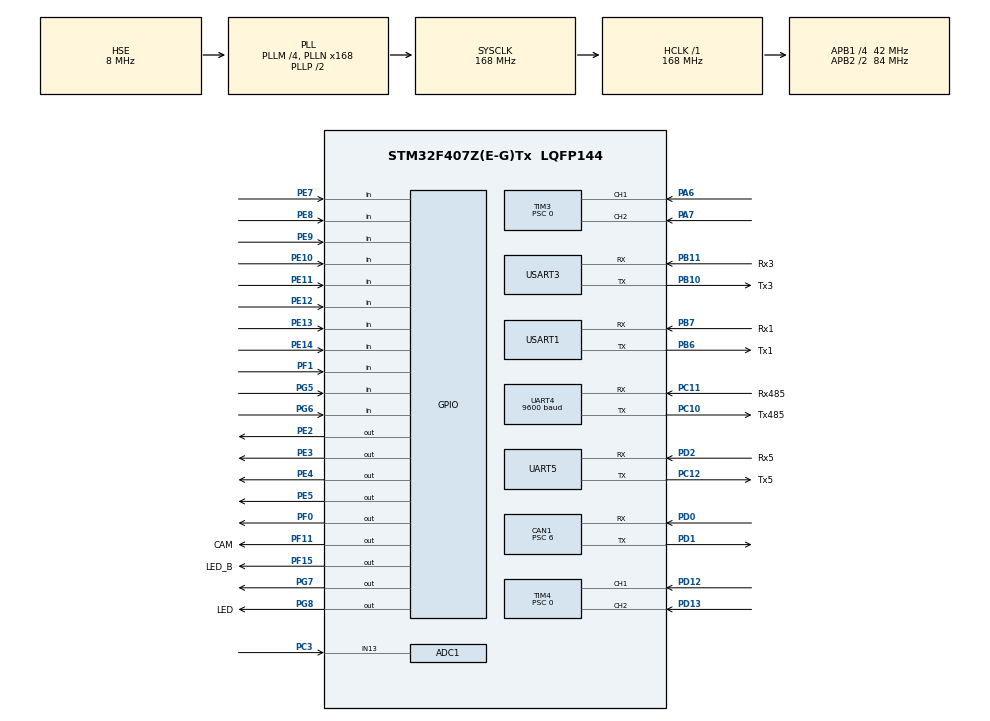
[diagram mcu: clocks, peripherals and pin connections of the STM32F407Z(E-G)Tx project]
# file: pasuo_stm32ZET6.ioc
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ADC1.Channel-0\#ChannelRegularConversion=ADC_CHANNEL_13
ADC1.NbrOfConversionFlag=1
ADC1.Rank-0\#ChannelRegularConversion=1
ADC1.SamplingTime-0\#ChannelRegularConversion=ADC_SAMPLETIME_3CYCLES
ADC1.master=1
CAN1.ABOM=ENABLE
CAN1.AWUM=ENABLE
CAN1.BS1=CAN_BS1_6TQ
CAN1.BS2=CAN_BS2_7TQ
CAN1.CalculateTimeQuantum=142.85714285714286
CAN1.Prescaler=6
FREERTOS.Tasks01=defaultTask,0,128,StartDefaultTask,Default,NULL,Dynamic,NULL,NULL
FREERTOS.configLIBRARY_MAX_SYSCALL_INTERRUPT_PRIORITY=5
FREERTOS.configMAX_PRIORITIES=10
FREERTOS.configTOTAL_HEAP_SIZE=81920
IWDG.Prescaler=IWDG_PRESCALER_32
IWDG.Reload=1024
Mcu.Family=STM32F4
Mcu.Name=STM32F407Z(E-G)Tx
Mcu.Package=LQFP144
NVIC.CAN1_RX0_IRQn=true\:7\:0\:true\:false\:true\:true\:true\:true
NVIC.CAN1_RX1_IRQn=true\:7\:0\:true\:false\:true\:true\:true\:true
NVIC.CAN1_TX_IRQn=true\:7\:0\:true\:false\:true\:true\:true\:true
NVIC.PriorityGroup=NVIC_PRIORITYGROUP_4
NVIC.TIM2_IRQn=true\:0\:0\:false\:false\:true\:false\:false\:true
NVIC.TIM3_IRQn=true\:8\:0\:true\:false\:true\:true\:true\:true
NVIC.TIM4_IRQn=true\:8\:0\:true\:false\:true\:true\:true\:true
NVIC.TimeBase=TIM2_IRQn
NVIC.TimeBaseIP=TIM2
NVIC.UART4_IRQn=true\:6\:0\:true\:false\:true\:true\:true\:true
NVIC.UART5_IRQn=true\:6\:0\:true\:false\:true\:true\:true\:true
NVIC.USART1_IRQn=true\:6\:0\:true\:false\:true\:true\:true\:true
NVIC.USART3_IRQn=true\:5\:0\:true\:false\:true\:true\:true\:true
PA13.Mode=Serial_Wire
PA13.Signal=SYS_JTMS-SWDIO
PA14.Mode=Serial_Wire
PA14.Signal=SYS_JTCK-SWCLK
PA6.GPIO_PuPd=GPIO_PULLDOWN
PA6.GPIO_Speed=GPIO_SPEED_FREQ_VERY_HIGH
PA6.Signal=S_TIM3_CH1
PA7.GPIO_PuPd=GPIO_PULLDOWN
PA7.GPIO_Speed=GPIO_SPEED_FREQ_VERY_HIGH
PA7.Signal=S_TIM3_CH2
PB10.GPIO_Label=Tx3
PB10.GPIO_PuPd=GPIO_PULLDOWN
PB10.Mode=Asynchronous
PB10.Signal=USART3_TX
PB11.GPIO_Label=Rx3
PB11.GPIO_PuPd=GPIO_PULLDOWN
PB11.Mode=Asynchronous
PB11.Signal=USART3_RX
PB6.GPIO_Label=Tx1
PB6.GPIO_PuPd=GPIO_PULLDOWN
PB6.Mode=Asynchronous
PB6.Signal=USART1_TX
PB7.GPIO_Label=Rx1
PB7.GPIO_PuPd=GPIO_PULLDOWN
PB7.Mode=Asynchronous
PB7.Signal=USART1_RX
PC10.GPIO_Label=Tx485
PC10.Mode=Asynchronous
PC10.Signal=UART4_TX
PC11.GPIO_Label=Rx485
PC11.Mode=Asynchronous
PC11.Signal=UART4_RX
PC12.GPIO_Label=Tx5
PC12.GPIO_PuPd=GPIO_PULLUP
PC12.Mode=Asynchronous
PC12.Signal=UART5_TX
PC3.Signal=ADCx_IN13
PD0.GPIO_PuPd=GPIO_PULLDOWN
PD0.Mode=Master
PD0.Signal=CAN1_RX
PD1.GPIO_PuPd=GPIO_PULLDOWN
PD1.Mode=Master
PD1.Signal=CAN1_TX
PD12.GPIO_PuPd=GPIO_PULLDOWN
PD12.GPIO_Speed=GPIO_SPEED_FREQ_VERY_HIGH
PD12.Signal=S_TIM4_CH1
PD13.GPIO_PuPd=GPIO_PULLDOWN
PD13.GPIO_Speed=GPIO_SPEED_FREQ_VERY_HIGH
PD13.Signal=S_TIM4_CH2
PD2.GPIO_Label=Rx5
PD2.GPIO_PuPd=GPIO_PULLUP
PD2.Mode=Asynchronous
PD2.Signal=UART5_RX
PE10.Signal=GPIO_Input
PE11.Signal=GPIO_Input
PE12.Signal=GPIO_Input
PE13.Signal=GPIO_Input
PE14.Signal=GPIO_Input
PE2.GPIO_PuPd=GPIO_PULLDOWN
PE2.GPIO_Speed=GPIO_SPEED_FREQ_MEDIUM
PE2.PinState=GPIO_PIN_RESET
PE2.Signal=GPIO_Output
PE3.GPIO_PuPd=GPIO_PULLUP
PE3.GPIO_Speed=GPIO_SPEED_FREQ_MEDIUM
PE3.PinState=GPIO_PIN_RESET
PE3.Signal=GPIO_Output
PE4.GPIO_PuPd=GPIO_PULLDOWN
PE4.GPIO_Speed=GPIO_SPEED_FREQ_MEDIUM
PE4.Signal=GPIO_Output
PE5.GPIO_PuPd=GPIO_PULLDOWN
PE5.GPIO_Speed=GPIO_SPEED_FREQ_MEDIUM
PE5.Signal=GPIO_Output
PE7.Signal=GPIO_Input
PE8.Signal=GPIO_Input
PE9.Signal=GPIO_Input
PF0.Signal=GPIO_Output
PF1.Signal=GPIO_Input
PF11.GPIO_Label=CAM
PF11.GPIO_PuPd=GPIO_PULLDOWN
PF11.GPIO_Speed=GPIO_SPEED_FREQ_VERY_HIGH
PF11.PinState=GPIO_PIN_RESET
PF11.Signal=GPIO_Output
PF15.GPIO_Label=LED_B
PF15.GPIO_PuPd=GPIO_PULLUP
PF15.Signal=GPIO_Output
PG5.Signal=GPIO_Input
PG6.Signal=GPIO_Input
PG7.GPIO_PuPd=GPIO_PULLDOWN
PG7.GPIO_Speed=GPIO_SPEED_FREQ_VERY_HIGH
PG7.Signal=GPIO_Output
PG8.GPIO_Label=LED
PG8.GPIO_PuPd=GPIO_PULLDOWN
PG8.Signal=GPIO_Output
PH0-OSC_IN.Mode=HSE-External-Oscillator
PH0-OSC_IN.Signal=RCC_OSC_IN
PH1-OSC_OUT.Mode=HSE-External-Oscillator
PH1-OSC_OUT.Signal=RCC_OSC_OUT
ProjectManager.HeapSize=0x5120
ProjectManager.StackSize=0x5120
ProjectManager.TargetToolchain=MDK-ARM V5.27
RCC.48MHZClocksFreq_Value=84000000
RCC.AHBFreq_Value=168000000
RCC.APB1CLKDivider=RCC_HCLK_DIV4
RCC.APB1Freq_Value=42000000
RCC.APB1TimFreq_Value=84000000
RCC.APB2CLKDivider=RCC_HCLK_DIV2
RCC.APB2Freq_Value=84000000
RCC.APB2TimFreq_Value=168000000
RCC.CortexFreq_Value=168000000
RCC.HCLKFreq_Value=168000000
RCC.HSE_VALUE=8000000
RCC.HSI_VALUE=16000000
RCC.LSE_VALUE=32768
RCC.PLLM=4
RCC.PLLN=168
RCC.PLLSourceVirtual=RCC_PLLSOURCE_HSE
RCC.SYSCLKFreq_VALUE=168000000
RCC.SYSCLKSource=RCC_SYSCLKSOURCE_PLLCLK
RCC.VCOOutputFreq_Value=336000000
SH.ADCx_IN13.0=ADC1_IN13,IN13
SH.S_TIM3_CH1.0=TIM3_CH1,Encoder_Interface
SH.S_TIM3_CH2.0=TIM3_CH2,Encoder_Interface
SH.S_TIM4_CH1.0=TIM4_CH1,Encoder_Interface
SH.S_TIM4_CH2.0=TIM4_CH2,Encoder_Interface
TIM3.Period=0xffff
TIM3.Prescaler=0
TIM4.Period=0xffff
TIM4.Prescaler=0
UART4.BaudRate=9600
UART4.VirtualMode=Asynchronous
UART5.VirtualMode=Asynchronous
USART1.VirtualMode=VM_ASYNC
USART3.VirtualMode=VM_ASYNC
VP_FREERTOS_VS_CMSIS_V1.Mode=CMSIS_V1
VP_IWDG_VS_IWDG.Mode=IWDG_Activate
VP_SYS_VS_tim2.Mode=TIM2
board=custom

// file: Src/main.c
/* USER CODE BEGIN Header */
/**
  ******************************************************************************
  * @file           : main.c
  * @brief          : Main program body
  ******************************************************************************
  * @attention
  *
  * <h2><center>&copy; Copyright (c) 2020 STMicroelectronics.
  * All rights reserved.</center></h2>
  *
  * This software component is licensed by ST under Ultimate Liberty license
  * SLA0044, the "License"; You may not use this file except in compliance with
  * the License. You may obtain a copy of the License at:
  *                             www.st.com/SLA0044
  *
  ******************************************************************************
  */
/* USER CODE END Header */

#include "main.h"
#include "cmsis_os.h"

/* USER CODE BEGIN Includes */
#include "user_task.h"
#include <stdio.h>
/* USER CODE END Includes */

/* USER CODE BEGIN PTD */
extern int32_t OverflowCount;
/* USER CODE END PTD */

ADC_HandleTypeDef hadc1;

CAN_HandleTypeDef hcan1;

IWDG_HandleTypeDef hiwdg;

TIM_HandleTypeDef htim3;
TIM_HandleTypeDef htim4;

UART_HandleTypeDef huart4;
UART_HandleTypeDef huart5;
UART_HandleTypeDef huart1;
UART_HandleTypeDef huart3;

osThreadId defaultTaskHandle;

void SystemClock_Config(void);
static void MX_GPIO_Init(void);
static void MX_UART4_Init(void);
static void MX_UART5_Init(void);
static void MX_USART1_UART_Init(void);
static void MX_USART3_UART_Init(void);
static void MX_ADC1_Init(void);
static void MX_CAN1_Init(void);
static void MX_TIM3_Init(void);
static void MX_TIM4_Init(void);
static void MX_IWDG_Init(void);
void StartDefaultTask(void const * argument);

int main(void)
{

  /* MCU Configuration--------------------------------------------------------*/

  /* Reset of all peripherals, Initializes the Flash interface and the Systick. */
  HAL_Init();

  /* Configure the system clock */
  SystemClock_Config();

  /* Initialize all configured peripherals */
  MX_GPIO_Init();
  MX_UART4_Init();
  MX_UART5_Init();
  MX_USART1_UART_Init();
  MX_USART3_UART_Init();
  MX_ADC1_Init();
  MX_CAN1_Init();
  MX_TIM3_Init();
  MX_TIM4_Init();
  MX_IWDG_Init();

  /* USER CODE BEGIN RTOS_QUEUES */
  /* add queues, ... */
  //HAL_GPIO_WritePin(GPIOE,GPIO_PIN_3,GPIO_PIN_RESET);
  /* USER CODE END RTOS_QUEUES */

  /* Create the thread(s) */
  /* definition and creation of defaultTask */
  osThreadDef(defaultTask, StartDefaultTask, osPriorityNormal, 0, 128);
  defaultTaskHandle = osThreadCreate(osThread(defaultTask), NULL);

  /* Start scheduler */
  osKernelStart();

  /* We should never get here as control is now taken by the scheduler */
  /* Infinite loop */
  while (1)
  {

  }
}

void SystemClock_Config(void)
{
  RCC_OscInitTypeDef RCC_OscInitStruct = {0};
  RCC_ClkInitTypeDef RCC_ClkInitStruct = {0};

  /** Configure the main internal regulator output voltage
  */
  __HAL_RCC_PWR_CLK_ENABLE();
  __HAL_PWR_VOLTAGESCALING_CONFIG(PWR_REGULATOR_VOLTAGE_SCALE1);
  /** Initializes the CPU, AHB and APB busses clocks
  */
  RCC_OscInitStruct.OscillatorType = RCC_OSCILLATORTYPE_LSI|RCC_OSCILLATORTYPE_HSE;
  RCC_OscInitStruct.HSEState = RCC_HSE_ON;
  RCC_OscInitStruct.LSIState = RCC_LSI_ON;
  RCC_OscInitStruct.PLL.PLLState = RCC_PLL_ON;
  RCC_OscInitStruct.PLL.PLLSource = RCC_PLLSOURCE_HSE;
  RCC_OscInitStruct.PLL.PLLM = 4;
  RCC_OscInitStruct.PLL.PLLN = 168;
  RCC_OscInitStruct.PLL.PLLP = RCC_PLLP_DIV2;
  RCC_OscInitStruct.PLL.PLLQ = 4;
  if (HAL_RCC_OscConfig(&RCC_OscInitStruct) != HAL_OK)
  {
    Error_Handler();
  }
  /** Initializes the CPU, AHB and APB busses clocks
  */
  RCC_ClkInitStruct.ClockType = RCC_CLOCKTYPE_HCLK|RCC_CLOCKTYPE_SYSCLK
                              |RCC_CLOCKTYPE_PCLK1|RCC_CLOCKTYPE_PCLK2;
  RCC_ClkInitStruct.SYSCLKSource = RCC_SYSCLKSOURCE_PLLCLK;
  RCC_ClkInitStruct.AHBCLKDivider = RCC_SYSCLK_DIV1;
  RCC_ClkInitStruct.APB1CLKDivider = RCC_HCLK_DIV4;
  RCC_ClkInitStruct.APB2CLKDivider = RCC_HCLK_DIV2;

  if (HAL_RCC_ClockConfig(&RCC_ClkInitStruct, FLASH_LATENCY_5) != HAL_OK)
  {
    Error_Handler();
  }
}

static void MX_ADC1_Init(void)
{

  ADC_ChannelConfTypeDef sConfig = {0};

  /** Configure the global features of the ADC (Clock, Resolution, Data Alignment and number of conversion)
  */
  hadc1.Instance = ADC1;
  hadc1.Init.ClockPrescaler = ADC_CLOCK_SYNC_PCLK_DIV4;
  hadc1.Init.Resolution = ADC_RESOLUTION_12B;
  hadc1.Init.ScanConvMode = DISABLE;
  hadc1.Init.ContinuousConvMode = DISABLE;
  hadc1.Init.DiscontinuousConvMode = DISABLE;
  hadc1.Init.ExternalTrigConvEdge = ADC_EXTERNALTRIGCONVEDGE_NONE;
  hadc1.Init.ExternalTrigConv = ADC_SOFTWARE_START;
  hadc1.Init.DataAlign = ADC_DATAALIGN_RIGHT;
  hadc1.Init.NbrOfConversion = 1;
  hadc1.Init.DMAContinuousRequests = DISABLE;
  hadc1.Init.EOCSelection = ADC_EOC_SINGLE_CONV;
  if (HAL_ADC_Init(&hadc1) != HAL_OK)
  {
    Error_Handler();
  }
  /** Configure for the selected ADC regular channel its corresponding rank in the sequencer and its sample time.
  */
  sConfig.Channel = ADC_CHANNEL_13;
  sConfig.Rank = 1;
  sConfig.SamplingTime = ADC_SAMPLETIME_3CYCLES;
  if (HAL_ADC_ConfigChannel(&hadc1, &sConfig) != HAL_OK)
  {
    Error_Handler();
  }

}

static void MX_CAN1_Init(void)
{

  hcan1.Instance = CAN1;
  hcan1.Init.Prescaler = 6;
  hcan1.Init.Mode = CAN_MODE_NORMAL;
  hcan1.Init.SyncJumpWidth = CAN_SJW_1TQ;
  hcan1.Init.TimeSeg1 = CAN_BS1_6TQ;
  hcan1.Init.TimeSeg2 = CAN_BS2_7TQ;
  hcan1.Init.TimeTriggeredMode = DISABLE;
  hcan1.Init.AutoBusOff = ENABLE;
  hcan1.Init.AutoWakeUp = ENABLE;
  hcan1.Init.AutoRetransmission = DISABLE;
  hcan1.Init.ReceiveFifoLocked = DISABLE;
  hcan1.Init.TransmitFifoPriority = DISABLE;
  if (HAL_CAN_Init(&hcan1) != HAL_OK)
  {
    Error_Handler();
  }
  /* USER CODE BEGIN CAN1_Init 2 */
  CAN_FilterTypeDef  sFilterConfig;
  sFilterConfig.FilterBank = 0;
  sFilterConfig.FilterMode = CAN_FILTERMODE_IDMASK;
  sFilterConfig.FilterScale = CAN_FILTERSCALE_32BIT;
  sFilterConfig.FilterIdHigh = 0x0000;
  sFilterConfig.FilterIdLow = 0x0000;
  sFilterConfig.FilterMaskIdHigh = 0x0000;
  sFilterConfig.FilterMaskIdLow = 0x0000;
  sFilterConfig.FilterFIFOAssignment = CAN_RX_FIFO0;
  sFilterConfig.FilterActivation = ENABLE;
  sFilterConfig.SlaveStartFilterBank = 14;
    if (HAL_CAN_ConfigFilter(&hcan1, &sFilterConfig) != HAL_OK)
  {
    Error_Handler();
  }

  /* USER CODE END CAN1_Init 2 */

}

static void MX_IWDG_Init(void)
{

  hiwdg.Instance = IWDG;
  hiwdg.Init.Prescaler = IWDG_PRESCALER_32;
  hiwdg.Init.Reload = 1024;
  if (HAL_IWDG_Init(&hiwdg) != HAL_OK)
  {
    Error_Handler();
  }

}

static void MX_TIM3_Init(void)
{

  TIM_Encoder_InitTypeDef sConfig = {0};
  TIM_MasterConfigTypeDef sMasterConfig = {0};

  htim3.Instance = TIM3;
  htim3.Init.Prescaler = 99;
  htim3.Init.CounterMode = TIM_COUNTERMODE_UP;
  htim3.Init.Period = 0xffff;
  htim3.Init.ClockDivision = TIM_CLOCKDIVISION_DIV1;
  htim3.Init.AutoReloadPreload = TIM_AUTORELOAD_PRELOAD_DISABLE;
  sConfig.EncoderMode = TIM_ENCODERMODE_TI1;
  sConfig.IC1Polarity = TIM_ICPOLARITY_RISING;
  sConfig.IC1Selection = TIM_ICSELECTION_DIRECTTI;
  sConfig.IC1Prescaler = TIM_ICPSC_DIV1;
  sConfig.IC1Filter = 0;
  sConfig.IC2Polarity = TIM_ICPOLARITY_RISING;
  sConfig.IC2Selection = TIM_ICSELECTION_DIRECTTI;
  sConfig.IC2Prescaler = TIM_ICPSC_DIV1;
  sConfig.IC2Filter = 0;
  if (HAL_TIM_Encoder_Init(&htim3, &sConfig) != HAL_OK)
  {
    Error_Handler();
  }
  sMasterConfig.MasterOutputTrigger = TIM_TRGO_RESET;
  sMasterConfig.MasterSlaveMode = TIM_MASTERSLAVEMODE_DISABLE;
  if (HAL_TIMEx_MasterConfigSynchronization(&htim3, &sMasterConfig) != HAL_OK)
  {
    Error_Handler();
  }

}

static void MX_TIM4_Init(void)
{

  TIM_Encoder_InitTypeDef sConfig = {0};
  TIM_MasterConfigTypeDef sMasterConfig = {0};

  htim4.Instance = TIM4;
  htim4.Init.Prescaler = 0;
  htim4.Init.CounterMode = TIM_COUNTERMODE_UP;
  htim4.Init.Period = 65534;
  htim4.Init.ClockDivision = TIM_CLOCKDIVISION_DIV1;
  htim4.Init.AutoReloadPreload = TIM_AUTORELOAD_PRELOAD_DISABLE;
  sConfig.EncoderMode = TIM_ENCODERMODE_TI1;
  sConfig.IC1Polarity = TIM_ICPOLARITY_RISING;
  sConfig.IC1Selection = TIM_ICSELECTION_DIRECTTI;
  sConfig.IC1Prescaler = TIM_ICPSC_DIV1;
  sConfig.IC1Filter = 0;
  sConfig.IC2Polarity = TIM_ICPOLARITY_RISING;
  sConfig.IC2Selection = TIM_ICSELECTION_DIRECTTI;
  sConfig.IC2Prescaler = TIM_ICPSC_DIV1;
  sConfig.IC2Filter = 0;
  if (HAL_TIM_Encoder_Init(&htim4, &sConfig) != HAL_OK)
  {
    Error_Handler();
  }
  sMasterConfig.MasterOutputTrigger = TIM_TRGO_RESET;
  sMasterConfig.MasterSlaveMode = TIM_MASTERSLAVEMODE_DISABLE;
  if (HAL_TIMEx_MasterConfigSynchronization(&htim4, &sMasterConfig) != HAL_OK)
  {
    Error_Handler();
  }

}

static void MX_UART4_Init(void)
{

  huart4.Instance = UART4;
  huart4.Init.BaudRate = 9600;
  huart4.Init.WordLength = UART_WORDLENGTH_8B;
  huart4.Init.StopBits = UART_STOPBITS_1;
  huart4.Init.Parity = UART_PARITY_NONE;
  huart4.Init.Mode = UART_MODE_TX_RX;
  huart4.Init.HwFlowCtl = UART_HWCONTROL_NONE;
  huart4.Init.OverSampling = UART_OVERSAMPLING_16;
  if (HAL_UART_Init(&huart4) != HAL_OK)
  {
    Error_Handler();
  }

}

static void MX_UART5_Init(void)
{

  huart5.Instance = UART5;
  huart5.Init.BaudRate = 115200;
  huart5.Init.WordLength = UART_WORDLENGTH_8B;
  huart5.Init.StopBits = UART_STOPBITS_1;
  huart5.Init.Parity = UART_PARITY_NONE;
  huart5.Init.Mode = UART_MODE_TX_RX;
  huart5.Init.HwFlowCtl = UART_HWCONTROL_NONE;
  huart5.Init.OverSampling = UART_OVERSAMPLING_16;
  if (HAL_UART_Init(&huart5) != HAL_OK)
  {
    Error_Handler();
  }

}

static void MX_USART1_UART_Init(void)
{

  huart1.Instance = USART1;
  huart1.Init.BaudRate = 115200;
  huart1.Init.WordLength = UART_WORDLENGTH_8B;
  huart1.Init.StopBits = UART_STOPBITS_1;
  huart1.Init.Parity = UART_PARITY_NONE;
  huart1.Init.Mode = UART_MODE_TX_RX;
  huart1.Init.HwFlowCtl = UART_HWCONTROL_NONE;
  huart1.Init.OverSampling = UART_OVERSAMPLING_16;
  if (HAL_UART_Init(&huart1) != HAL_OK)
  {
    Error_Handler();
  }

}

static void MX_USART3_UART_Init(void)
{

  huart3.Instance = USART3;
  huart3.Init.BaudRate = 115200;
  huart3.Init.WordLength = UART_WORDLENGTH_8B;
  huart3.Init.StopBits = UART_STOPBITS_1;
  huart3.Init.Parity = UART_PARITY_NONE;
  huart3.Init.Mode = UART_MODE_TX_RX;
  huart3.Init.HwFlowCtl = UART_HWCONTROL_NONE;
  huart3.Init.OverSampling = UART_OVERSAMPLING_16;
  if (HAL_UART_Init(&huart3) != HAL_OK)
  {
    Error_Handler();
  }

}

static void MX_GPIO_Init(void)
{
  GPIO_InitTypeDef GPIO_InitStruct = {0};

  /* GPIO Ports Clock Enable */
  __HAL_RCC_GPIOE_CLK_ENABLE();
  __HAL_RCC_GPIOF_CLK_ENABLE();
  __HAL_RCC_GPIOH_CLK_ENABLE();
  __HAL_RCC_GPIOC_CLK_ENABLE();
  __HAL_RCC_GPIOA_CLK_ENABLE();
  __HAL_RCC_GPIOB_CLK_ENABLE();
  __HAL_RCC_GPIOD_CLK_ENABLE();
  __HAL_RCC_GPIOG_CLK_ENABLE();

  /*Configure GPIO pin Output Level */
  //HAL_GPIO_WritePin(GPIOE, GPIO_PIN_2|GPIO_PIN_3|GPIO_PIN_4|GPIO_PIN_5, GPIO_PIN_RESET);

  /*Configure GPIO pin Output Level */
  HAL_GPIO_WritePin(GPIOF, GPIO_PIN_0|CAM_Pin|LED_B_Pin, GPIO_PIN_RESET);

  /*Configure GPIO pin Output Level */
  HAL_GPIO_WritePin(GPIOG, GPIO_PIN_7|LED_Pin, GPIO_PIN_RESET);

  /*Configure GPIO pins : PE2 PE4 PE5 */
  GPIO_InitStruct.Pin = GPIO_PIN_2|GPIO_PIN_4|GPIO_PIN_5;
  GPIO_InitStruct.Mode = GPIO_MODE_OUTPUT_PP;
  GPIO_InitStruct.Pull = GPIO_PULLDOWN;
  GPIO_InitStruct.Speed = GPIO_SPEED_FREQ_MEDIUM;
  HAL_GPIO_Init(GPIOE, &GPIO_InitStruct);

  /*Configure GPIO pin : PE3 */
  GPIO_InitStruct.Pin = GPIO_PIN_3;
  GPIO_InitStruct.Mode = GPIO_MODE_OUTPUT_PP;
  GPIO_InitStruct.Pull = GPIO_PULLUP;
  GPIO_InitStruct.Speed = GPIO_SPEED_FREQ_MEDIUM;
  HAL_GPIO_Init(GPIOE, &GPIO_InitStruct);

  /*Configure GPIO pin : PF0 */
  GPIO_InitStruct.Pin = GPIO_PIN_0;
  GPIO_InitStruct.Mode = GPIO_MODE_OUTPUT_PP;
  GPIO_InitStruct.Pull = GPIO_NOPULL;
  GPIO_InitStruct.Speed = GPIO_SPEED_FREQ_LOW;
  HAL_GPIO_Init(GPIOF, &GPIO_InitStruct);

  /*Configure GPIO pin : PF1 */
  GPIO_InitStruct.Pin = GPIO_PIN_1;
  GPIO_InitStruct.Mode = GPIO_MODE_INPUT;
  GPIO_InitStruct.Pull = GPIO_NOPULL;
  HAL_GPIO_Init(GPIOF, &GPIO_InitStruct);

  /*Configure GPIO pin : CAM_Pin */
  GPIO_InitStruct.Pin = CAM_Pin;
  GPIO_InitStruct.Mode = GPIO_MODE_OUTPUT_PP;
  GPIO_InitStruct.Pull = GPIO_PULLDOWN;
  GPIO_InitStruct.Speed = GPIO_SPEED_FREQ_VERY_HIGH;
  HAL_GPIO_Init(CAM_GPIO_Port, &GPIO_InitStruct);

  /*Configure GPIO pin : LED_B_Pin */
  GPIO_InitStruct.Pin = LED_B_Pin;
  GPIO_InitStruct.Mode = GPIO_MODE_OUTPUT_PP;
  GPIO_InitStruct.Pull = GPIO_PULLUP;
  GPIO_InitStruct.Speed = GPIO_SPEED_FREQ_LOW;
  HAL_GPIO_Init(LED_B_GPIO_Port, &GPIO_InitStruct);

  /*Configure GPIO pins : PE7 PE8 PE9 PE10
                           PE11 PE12 PE13 PE14 */
  GPIO_InitStruct.Pin = GPIO_PIN_7|GPIO_PIN_8|GPIO_PIN_9|GPIO_PIN_10
                          |GPIO_PIN_11|GPIO_PIN_12|GPIO_PIN_13|GPIO_PIN_14;
  GPIO_InitStruct.Mode = GPIO_MODE_INPUT;
  GPIO_InitStruct.Pull = GPIO_NOPULL;
  HAL_GPIO_Init(GPIOE, &GPIO_InitStruct);

  /*Configure GPIO pins : PG5 PG6 */
  GPIO_InitStruct.Pin = GPIO_PIN_5|GPIO_PIN_6;
  GPIO_InitStruct.Mode = GPIO_MODE_INPUT;
  GPIO_InitStruct.Pull = GPIO_NOPULL;
  HAL_GPIO_Init(GPIOG, &GPIO_InitStruct);

  /*Configure GPIO pin : PG7 */
  GPIO_InitStruct.Pin = GPIO_PIN_7;
  GPIO_InitStruct.Mode = GPIO_MODE_OUTPUT_PP;
  GPIO_InitStruct.Pull = GPIO_PULLDOWN;
  GPIO_InitStruct.Speed = GPIO_SPEED_FREQ_VERY_HIGH;
  HAL_GPIO_Init(GPIOG, &GPIO_InitStruct);

  /*Configure GPIO pin : LED_Pin */
  GPIO_InitStruct.Pin = LED_Pin;
  GPIO_InitStruct.Mode = GPIO_MODE_OUTPUT_PP;
  GPIO_InitStruct.Pull = GPIO_PULLDOWN;
  GPIO_InitStruct.Speed = GPIO_SPEED_FREQ_LOW;
  HAL_GPIO_Init(LED_GPIO_Port, &GPIO_InitStruct);

}

void StartDefaultTask(void const * argument)
{
  /* USER CODE BEGIN 5 */
  /* Infinite loop */
	userTaskInit();
  for(;;)
  {
    osDelay(1);
  }
  /* USER CODE END 5 */
}

 /**
  * @brief  Period elapsed callback in non blocking mode
  * @note   This function is called  when TIM2 interrupt took place, inside
  * HAL_TIM_IRQHandler(). It makes a direct call to HAL_IncTick() to increment
  * a global variable "uwTick" used as application time base.
  * @param  htim : TIM handle
  * @retval None
  */
void HAL_TIM_PeriodElapsedCallback(TIM_HandleTypeDef *htim)
{
  if (htim->Instance == TIM2) {
    HAL_IncTick();
  }
  /* USER CODE BEGIN Callback 1 */
//  if(htim->Instance == TIM4){
//	if(__HAL_TIM_IS_TIM_COUNTING_DOWN(&htim4)){
//		//向下溢出
//		OverflowCount--;
//	}else{
//		OverflowCount++;
//	}
//	printf("OverflowCount::=====%d",OverflowCount);
//	}
  /* USER CODE END Callback 1 */
}

void Error_Handler(void)
{
}

/************************ (C) COPYRIGHT STMicroelectronics *****END OF FILE****/
